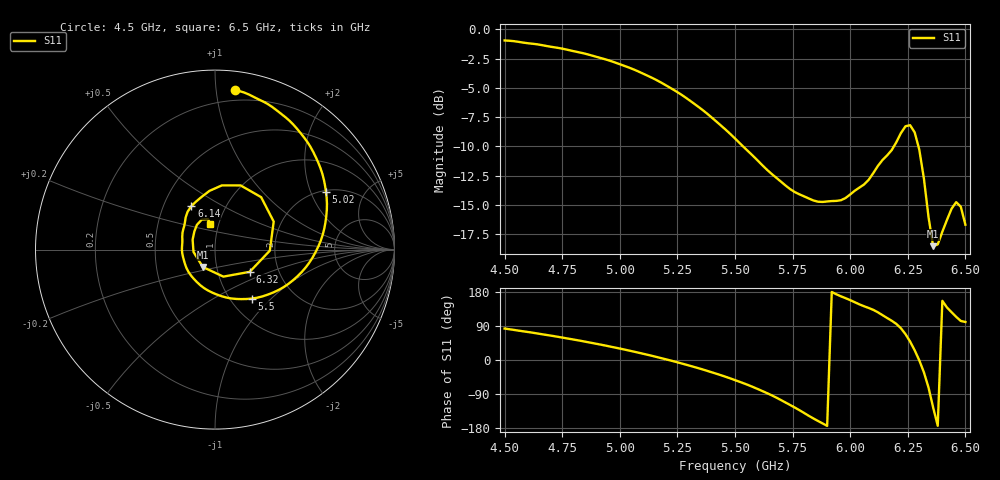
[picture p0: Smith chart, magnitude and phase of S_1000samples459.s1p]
! TOUCHSTONE file generated by CST MICROWAVE STUDIO
! Date and time: Fri Oct 28 05:58:49 2022
! Project name: L.cst
! Parameters = {Di=1.27; Epsilon_r=1.56; InnerDiameter=1.27; Length=2; Lf=10; Lg=60; OuterConductorThickness=0.2921; OuterDiameter=3.6; Wf=3; Wp=41.2; de=1.5; df=6.8; g=0.8; gx=3.20549; gy=3.13878; h=2.34; hf=1.524; px=13.703; py=13.6142; w=9.7; wx=10.4975; wy=10.4755}
! Header version: 2018
! Port assignment regex: !\s*Touchstone port\s*([0-9]+)\s*=\s*(CST MWS port|CST DS port)\s*([0-9]+|Zmin|Zmax)\s*\(\"(.*)\"\)(\s*mode\s*([0-9]+))?.*
! Touchstone port assignment:
! Touchstone port 1 = CST MWS port 1 ("")
# GHz S DB R 50
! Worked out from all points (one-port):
!   101 points, 4.5 GHz to 6.5 GHz, reference 50 ohm
!   lowest |S11| = -18.5 dB at 6.36 GHz (marker M1), VSWR 1.27, Z = 42.9 - j8.4 ohm
!   |S11| at or under -10 dB: 5.534 GHz to 6.19 GHz (655.5 MHz wide, 11.2 % of centre); 6.296 GHz to end of sweep
!   S11 on the Smith chart (normalised r, x): 4.5 GHz: 0.12, +1.12; 5.02 GHz: 2.05, +2.58; 5.5 GHz: 1.25, -0.77; 6.14 GHz: 0.69, +0.36; 6.32 GHz: 1.42, -0.37; 6.5 GHz: 0.91, +0.27
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4.5  -0.95 83.0
4.64  -1.28 70.2
4.76  -1.69 58.1
4.88  -2.25 44.9
5  -2.98 30.2
5.02  -3.13 27.6
5.14  -4.15 10.9
5.26  -5.49 -7.7
5.38  -7.22 -28.8
5.5  -9.33 -53.1
5.62  -11.65 -82.3
5.76  -13.92 -125.6
5.88  -14.76 -167.3
6  -14.12 158.0
6.14  -11.18 118.4
6.2  -9.66 95.4
6.24  -8.29 68.3
6.26  -8.20 48.6
6.28  -8.82 25.5
6.3  -10.30 -1.1
6.32  -12.77 -32.6
6.34  -16.05 -72.8
6.36  -18.54 -125.2
6.38  -18.39 -173.6
6.4  -17.30 156.1
6.46  -14.78 113.9
6.48  -15.17 103.0
6.5  -16.71 100.4
